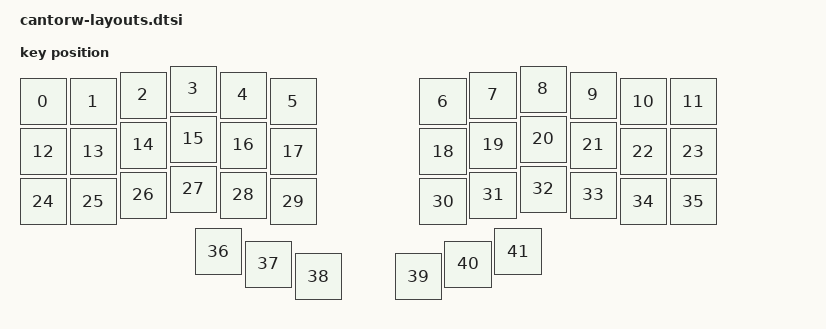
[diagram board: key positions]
#include <physical_layouts.dtsi>

/ {
	physical_layout0: physical_layout_0 {
		compatible = "zmk,physical-layout";
		display-name = "Default layout";
		transform = <&default_transform>;
		kscan = <&kscan0>;
		keys //						w	h	x	y	rot	rx	ry
            = <&key_physical_attrs 100 100    0   25       0     0     0>
            , <&key_physical_attrs 100 100  100   25       0     0     0>
            , <&key_physical_attrs 100 100  200   12       0     0     0>
            , <&key_physical_attrs 100 100  300    0       0     0     0>
            , <&key_physical_attrs 100 100  400   12       0     0     0>
            , <&key_physical_attrs 100 100  500   25       0     0     0>
            , <&key_physical_attrs 100 100  800   25       0     0     0>
            , <&key_physical_attrs 100 100  900   12       0     0     0>
            , <&key_physical_attrs 100 100 1000    0       0     0     0>
            , <&key_physical_attrs 100 100 1100   12       0     0     0>
            , <&key_physical_attrs 100 100 1200   25       0     0     0>
            , <&key_physical_attrs 100 100 1300   25       0     0     0>
            , <&key_physical_attrs 100 100    0  125       0     0     0>
            , <&key_physical_attrs 100 100  100  125       0     0     0>
            , <&key_physical_attrs 100 100  200  112       0     0     0>
            , <&key_physical_attrs 100 100  300  100       0     0     0>
            , <&key_physical_attrs 100 100  400  112       0     0     0>
            , <&key_physical_attrs 100 100  500  125       0     0     0>
            , <&key_physical_attrs 100 100  800  125       0     0     0>
            , <&key_physical_attrs 100 100  900  112       0     0     0>
            , <&key_physical_attrs 100 100 1000  100       0     0     0>
            , <&key_physical_attrs 100 100 1100  112       0     0     0>
            , <&key_physical_attrs 100 100 1200  125       0     0     0>
            , <&key_physical_attrs 100 100 1300  125       0     0     0>
            , <&key_physical_attrs 100 100    0  225       0     0     0>
            , <&key_physical_attrs 100 100  100  225       0     0     0>
            , <&key_physical_attrs 100 100  200  212       0     0     0>
            , <&key_physical_attrs 100 100  300  200       0     0     0>
            , <&key_physical_attrs 100 100  400  212       0     0     0>
            , <&key_physical_attrs 100 100  500  225       0     0     0>
            , <&key_physical_attrs 100 100  800  225       0     0     0>
            , <&key_physical_attrs 100 100  900  212       0     0     0>
            , <&key_physical_attrs 100 100 1000  200       0     0     0>
            , <&key_physical_attrs 100 100 1100  212       0     0     0>
            , <&key_physical_attrs 100 100 1200  225       0     0     0>
            , <&key_physical_attrs 100 100 1300  225       0     0     0>
            , <&key_physical_attrs 100 100  350  325       0     0     0>
            , <&key_physical_attrs 100 100  450  350       0     0     0>
            , <&key_physical_attrs 100 100  550  375       0     0     0>
            , <&key_physical_attrs 100 100  750  375       0     0     0>
            , <&key_physical_attrs 100 100  850  350       0     0     0>
            , <&key_physical_attrs 100 100  950  325       0     0     0>
            ;
	};
};

